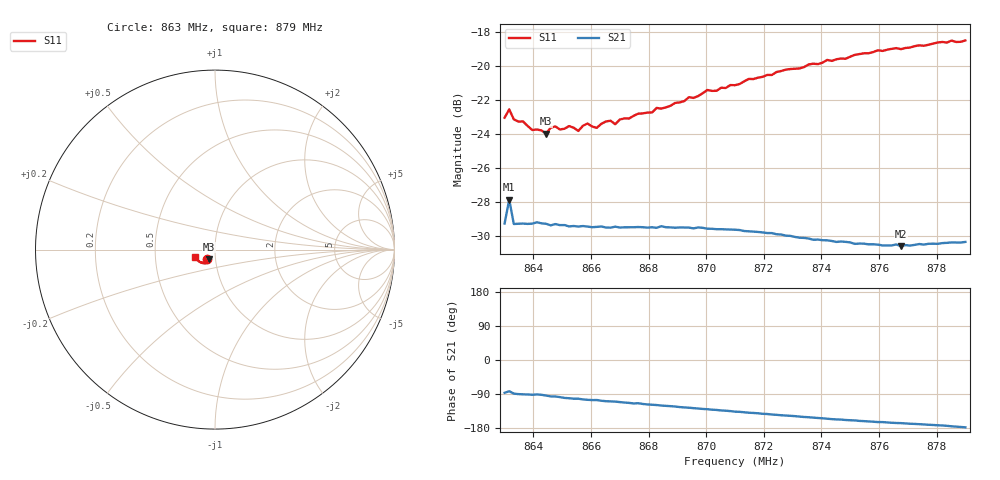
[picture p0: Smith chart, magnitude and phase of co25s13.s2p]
# HZ S RI R 50
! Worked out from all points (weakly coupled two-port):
!   101 points, 863 MHz to 879 MHz, reference 50 ohm
!   highest |S21| = -27.87 dB at 863.16 MHz (marker M1); lowest = -30.6 dB at 876.76 MHz (marker M2)
!   lowest |S11| = -24.0 dB at 864.44 MHz (marker M3), VSWR 1.14, Z = 46.4 - j4.9 ohm
!   |S11| at or under -10 dB: start of sweep to end of sweep
!   S12 and S22 are empty: the file has one direction only
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8.63e8  -0.045 -0.0543  0.00203 -0.0343  0 0  0 0
8.6316e8  -0.0366 -0.065  0.00537 -0.0401  0 0  0 0
8.6332e8  -0.044 -0.0541  0.000791 -0.0342  0 0  0 0
8.6396e8  -0.0382 -0.0525  -0.0011 -0.0343  0 0  0 0
8.6444e8  -0.0352 -0.0526  -0.00228 -0.0342  0 0  0 0
8.6476e8  -0.0362 -0.0558  -0.00373 -0.034  0 0  0 0
8.6492e8  -0.0359 -0.0543  -0.0047 -0.0337  0 0  0 0
8.6524e8  -0.0371 -0.0554  -0.00638 -0.0331  0 0  0 0
8.6556e8  -0.0339 -0.0548  -0.00707 -0.0329  0 0  0 0
8.6572e8  -0.0347 -0.057  -0.00822 -0.0328  0 0  0 0
8.6588e8  -0.0363 -0.0573  -0.00873 -0.0325  0 0  0 0
8.662e8  -0.0333 -0.0568  -0.00903 -0.0323  0 0  0 0
8.6668e8  -0.0344 -0.0599  -0.011 -0.0316  0 0  0 0
8.6684e8  -0.032 -0.0594  -0.0114 -0.0317  0 0  0 0
8.67e8  -0.0342 -0.0607  -0.012 -0.0312  0 0  0 0
8.6844e8  -0.0354 -0.0662  -0.017 -0.0292  0 0  0 0
8.7004e8  -0.0433 -0.0733  -0.0213 -0.0255  0 0  0 0
8.71e8  -0.0481 -0.0737  -0.0238 -0.0227  0 0  0 0
8.7372e8  -0.0687 -0.0752  -0.0272 -0.0144  0 0  0 0
8.7644e8  -0.094 -0.0621  -0.0287 -0.00733  0 0  0 0
8.7676e8  -0.0958 -0.0587  -0.0286 -0.00684  0 0  0 0
8.79e8  -0.1128 -0.0386  -0.0303 -0.00121  0 0  0 0
